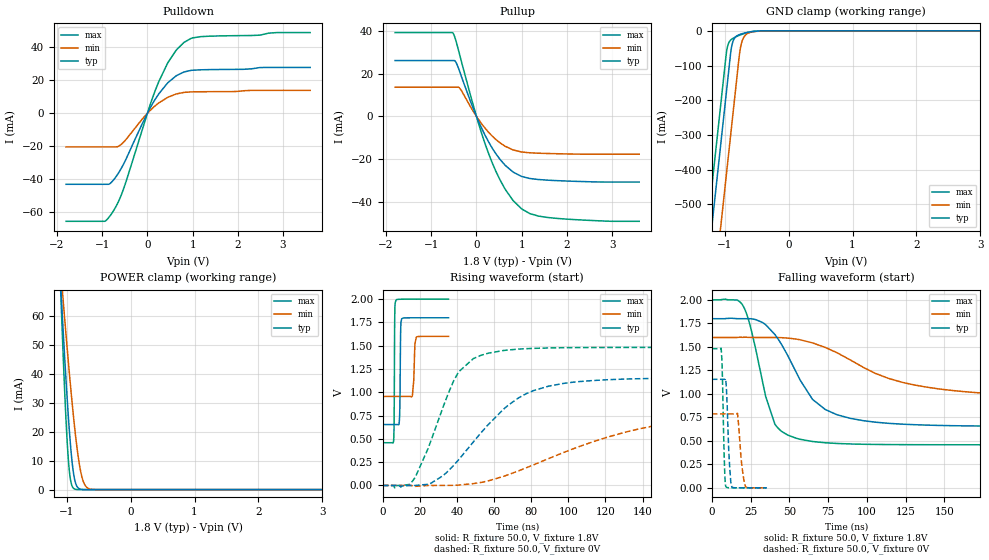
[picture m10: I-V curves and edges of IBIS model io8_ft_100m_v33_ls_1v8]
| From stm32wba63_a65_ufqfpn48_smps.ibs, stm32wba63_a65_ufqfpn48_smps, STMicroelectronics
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[Model]   io8_ft_100m_v33_ls_1v8
Model_type I/O
Polarity   Non-Inverting
Enable   Active-Low
| CAP_THRESHOLD on pad IOFT is "UDTCAPC" :
| Rising=30.0% of vddiom   Falling=70.0% of vddiom
| C_comp min and max val. don't necessarily correlate with the min and max pvt
| but are the smallest and greatest pad capacitance found.
| var   typ   min   max
C_comp   3.44267pF  3.41637pF  3.57935pF
|C_comp_pullup   2.04579pF  1.94104pF  2.19245pF
|C_comp_pulldown   1.39689pF  1.47533pF  1.38690pF
Vinl = 800.0mV
Vinh = 1.0V
Vmeas = 900.0mV   | Reference voltage for timing measurements
Cref  = 50.0pF   | Timing specification test load capacitance value
Rref  = 1.0MOhm   | Timing specification test load resistance value
Vref  = 990.0mV   | Timing specification test load voltage
[Model Spec]
| TIME_THRESHOLD on pin ZIV33M is "CMOS" :
| Rising=50.0% of vddiom   Falling=50.0% of vddiom
Vinl 697.50000mV 620.50000mV 783.50000mV
Vinh 1.08850V 957.50000mV 1.19550V
| variable   typ   min   max
[Temperature Range] 25.0 140.0 -40.0
| variable   typ   min   max
[Voltage Range] 1.8V 1.6V 2.0V
| variable   typ   min   max
[POWER Clamp Reference] 1.8V 1.6V 2.0V
| variable   typ   min   max
[GND Clamp Reference] 0V 0V 0V
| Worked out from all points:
|   slope of the pulldown table from 0 to 0.27 V, typ, clamps not added: 21.9 ohm
|   slope of the pullup table from 0 to 0.27 V, typ, clamps not added: 22.5 ohm
|   GND clamp passes 1 mA (typ) near -0.51 V on its own axis
|   POWER clamp passes 1 mA (typ) near -0.83 V on its own axis
|   rising waveform, R_fixture 50.0, V_fixture 1.8V: 20-80 % time 333ps typ, 735ps min, 240ps max; typ from 0.654 V to 1.8 V
|   falling waveform, R_fixture 50.0, V_fixture 1.8V: 20-80 % time 26.2ns typ, 57.9ns min, 13.6ns max; typ from 1.8 V to 0.654 V
|   rising waveform, R_fixture 50.0, V_fixture 0V: 20-80 % time 33.2ns typ, 70.4ns min, 17.8ns max; typ from 0 V to 1.16 V
|   falling waveform, R_fixture 50.0, V_fixture 0V: 20-80 % time 1.72ns typ, 2.52ns min, 1.25ns max; typ from 1.16 V to 0 V
[POWER Clamp]
-1.8V     396.4mA    285.5mA    556.9mA
-1.09V    69.42mA    75.17mA    67.14mA
-1.08V    65.31mA    72.42mA    61.23mA
-1.06V    57.23mA    66.98mA    49.77mA
-1.02V    41.75mA    56.3mA     28.91mA
-980mV    27.6mA     45.97mA    12.6mA
-940mV    15.59mA    36.11mA    3.485mA
-880mV    4.091mA    22.61mA    262.5uA
-820mV    594.6uA    11.56mA    16.39uA
-760mV    69.41uA    4.321mA    1.008uA
-630mV    611.2nA    197uA      2.486nA
3.6V      0A         0A         0A
[GND Clamp]
-1.8V     -1.583A    -1.82A     -1.468A
-1.43V    -953.9mA   -1.191A    -839.3mA
-1.24V    -630.9mA   -867.8mA   -516.3mA
-1.05V    -307.9mA   -544.8mA   -193.3mA
-980mV    -188.9mA   -425.8mA   -74.3mA
-950mV    -137.9mA   -374.8mA   -41.62mA
-890mV    -44.57mA   -272.8mA   -24.11mA
-800mV    -13.55mA   -119.8mA   -15.31mA
-760mV    -10.3mA    -56.67mA   -12.19mA
-720mV    -7.957mA   -26.08mA   -9.381mA
-540mV    -1.564mA   -2.435mA   -1.367mA
3.6V      1.281nA    268nA      531.2pA
| variable   typ   min   max
[Pullup Reference] 1.8V 1.6V 2.0V
| variable   typ   min   max
[Pulldown Reference] 0V 0V 0V
[Pullup]
-1.8V     26.12mA    13.66mA    39.24mA
-520mV    26.12mA    13.66mA    39.05mA
-460mV    25.58mA    13.66mA    35.85mA
-360mV    20.34mA    12.93mA    27.94mA
30mV      -1.501mA   -943.7uA   -2.165mA
310mV     -13.47mA   -8.382mA   -19.66mA
640mV     -23mA      -14.05mA   -34.26mA
810mV     -26.07mA   -15.71mA   -39.4mA
1V        -28.15mA   -16.69mA   -43.34mA
1.18V     -29.09mA   -17.06mA   -45.52mA
1.6V      -29.9mA    -17.4mA    -47.4mA
3.6V      -30.74mA   -17.73mA   -49.13mA
[Pulldown]
-1.8V     -42.97mA   -20.34mA   -65.35mA
-940mV    -42.97mA   -20.34mA   -65.31mA
-780mV    -41.3mA    -20.34mA   -60.25mA
-650mV    -36.58mA   -20.1mA    -53.93mA
-530mV    -30.86mA   -17.55mA   -45.89mA
0V        1fA        -10fA      -3.8fA
250mV     11.67mA    6.208mA    19.03mA
460mV     18.64mA    9.755mA    30.89mA
630mV     22.5mA     11.58mA    37.88mA
810mV     24.97mA    12.61mA    42.87mA
1.18V     26.28mA    13mA       46.33mA
3.6V      27.7mA     13.84mA    48.79mA
[Ramp]
dV/dt_r 693.08918mV/33.03305ns 471.87316mV/70.1913ns 888.78811mV/17.34895ns
dV/dt_f 687.6926mV/25.45121ns 386.47242mV/57.48131ns 924.8646mV/12.76251ns
R_load = 50.0
| Removed startup time: 0s 0s 0s  .
| Removed end time: 35.4ns.
[Rising Waveform]
R_fixture   = 50.0
V_fixture   = 1.8V
V_fixture_min = 1.6V
V_fixture_max = 2.0V
0s        653.8mV    955.3mV    458.6mV
5.8ns     653.8mV    955.3mV    480mV
6.1ns     653.8mV    955.3mV    740.3mV
6.45ns    653.8mV    955.3mV    1.863V
7.25ns    653.9mV    955.3mV    1.994V
9ns       729.1mV    955.3mV    1.998V
10.15ns   1.788V     955.3mV    1.999V
15.9ns    1.799V     958.2mV    1.999V
18.1ns    1.799V     1.594V     1.999V
35.4ns    1.8V       1.6V       2V
| Removed startup time: 0s 0s 0s  .
| Removed end time: 398.4ns.
[Falling Waveform]
R_fixture   = 50.0
V_fixture   = 1.8V
V_fixture_min = 1.6V
V_fixture_max = 2.0V
0s        1.8V       1.6V       2V
19.6ns    1.8V       1.602V     1.951V
24.4ns    1.8V       1.601V     1.743V
34.65ns   1.737V     1.6V       975.8mV
40.65ns   1.632V     1.6V       677.2mV
56.9ns    1.147V     1.576V     517.1mV
73.2ns    833.3mV    1.494V     479.9mV
113.9ns   686.9mV    1.165V     460.9mV
195.2ns   655.8mV    990.6mV    458.6mV
398.4ns   653.8mV    955.9mV    458.6mV
| Removed startup time: 0s 0s 0s  .
| Removed end time: 398.35ns.
[Rising Waveform]
R_fixture   = 50.0
V_fixture   = 0V
V_fixture_min = 0V
V_fixture_max = 0V
0s        4.761nV    149.3nV    3.5nV
16.25ns   -352uV     -3.251mV   52.84mV
25.85ns   22.81mV    -148.2uV   475.3mV
40.65ns   270.7mV    3.605mV    1.213V
56.9ns    654.7mV    49.11mV    1.42V
73.2ns    940.4mV    156.8mV    1.463V
89.45ns   1.066V     289mV      1.476V
130.1ns   1.141V     568.3mV    1.481V
170.8ns   1.153V     708.7mV    1.481V
398.4ns   1.155V     786.5mV    1.481V
| Removed startup time: 0s 0s 0s  .
| Removed end time: 35.35ns.
[Falling Waveform]
R_fixture   = 50.0
V_fixture   = 0V
V_fixture_min = 0V
V_fixture_max = 0V
0s        1.155V     786.9mV    1.481V
6ns       1.155V     786.9mV    1.479V
6.7ns     1.155V     786.9mV    1.242V
8.2ns     1.155V     786.9mV    207.5mV
9ns       1.148V     786.9mV    15.22mV
11.25ns   289.5mV    786.9mV    1.339mV
13ns      6.248mV    786.9mV    812.1uV
16.6ns    628.7uV    784.9mV    611.9uV
21.65ns   320.6uV    16.32mV    592.7uV
35.35ns   323.9uV    165.5uV    148.2uV
